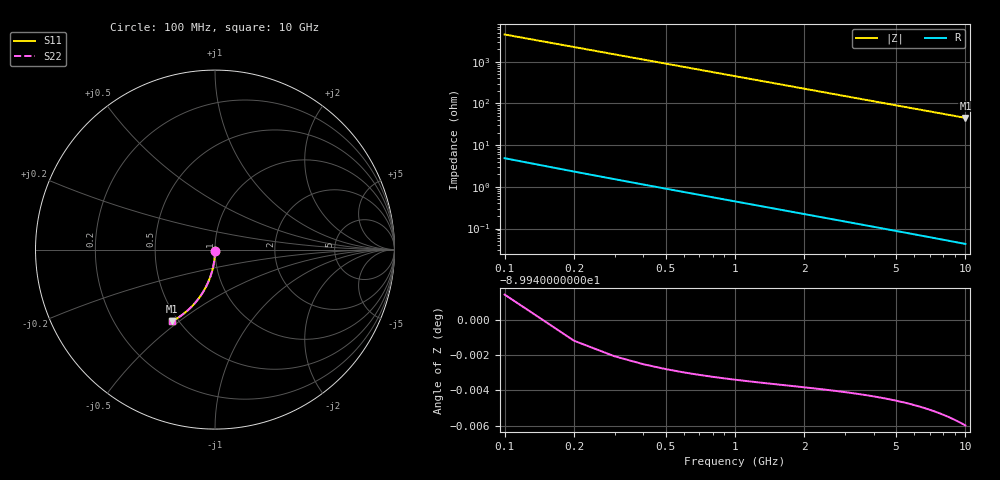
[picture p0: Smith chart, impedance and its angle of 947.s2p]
# Hz S RI R 50.00
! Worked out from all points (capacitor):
!   100 points, 100 MHz to 10 GHz, reference 50 ohm
!   read as one part in shunt: C = 351 fF near 100 MHz
!   lowest |Z| = 45.2 ohm at 10 GHz (marker M1)
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1e8  3.83e-05 -0.00525  0.9999 -0.00578  0.9999 -0.00578  3.83e-05 -0.00525
2e8  -5.77e-05 -0.0105  0.9998 -0.0116  0.9998 -0.0116  -5.77e-05 -0.0105
3e8  -0.000214 -0.0157  0.9996 -0.0173  0.9996 -0.0173  -0.000214 -0.0157
4e8  -0.000432 -0.021  0.9994 -0.0231  0.9994 -0.0231  -0.000432 -0.021
5e8  -0.00071 -0.0262  0.9991 -0.0289  0.9991 -0.0289  -0.00071 -0.0262
6e8  -0.00105 -0.0315  0.9988 -0.0347  0.9988 -0.0347  -0.00105 -0.0315
7e8  -0.00145 -0.0367  0.9984 -0.0404  0.9984 -0.0404  -0.00145 -0.0367
8e8  -0.00191 -0.0419  0.9979 -0.0462  0.9979 -0.0462  -0.00191 -0.0419
9e8  -0.00243 -0.0471  0.9974 -0.052  0.9974 -0.052  -0.00243 -0.0471
1.1e9  -0.00365 -0.0575  0.9962 -0.0634  0.9962 -0.0634  -0.00365 -0.0575
1.4e9  -0.00592 -0.0731  0.9939 -0.0806  0.9939 -0.0806  -0.00592 -0.0731
1.8e9  -0.00979 -0.0936  0.99 -0.1033  0.99 -0.1033  -0.00979 -0.0936
2.1e9  -0.0133 -0.1089  0.9865 -0.1201  0.9865 -0.1201  -0.0133 -0.1089
2.5e9  -0.0188 -0.1289  0.981 -0.1423  0.981 -0.1423  -0.0188 -0.1289
2.9e9  -0.0251 -0.1486  0.9746 -0.1642  0.9746 -0.1642  -0.0251 -0.1486
3.4e9  -0.0343 -0.1726  0.9654 -0.1909  0.9654 -0.1909  -0.0343 -0.1726
4.2e9  -0.0515 -0.2095  0.9481 -0.2322  0.9481 -0.2322  -0.0515 -0.2095
5.1e9  -0.0743 -0.2484  0.9252 -0.2759  0.9252 -0.2759  -0.0743 -0.2484
5.9e9  -0.0972 -0.2802  0.9021 -0.3122  0.9021 -0.3122  -0.0972 -0.2802
6.7e9  -0.1222 -0.3093  0.877 -0.3457  0.877 -0.3457  -0.1222 -0.3093
8.4e9  -0.1805 -0.3617  0.8183 -0.4075  0.8183 -0.4075  -0.1805 -0.3617
1e10  -0.2389 -0.399  0.7594 -0.4539  0.7594 -0.4539  -0.2389 -0.399
